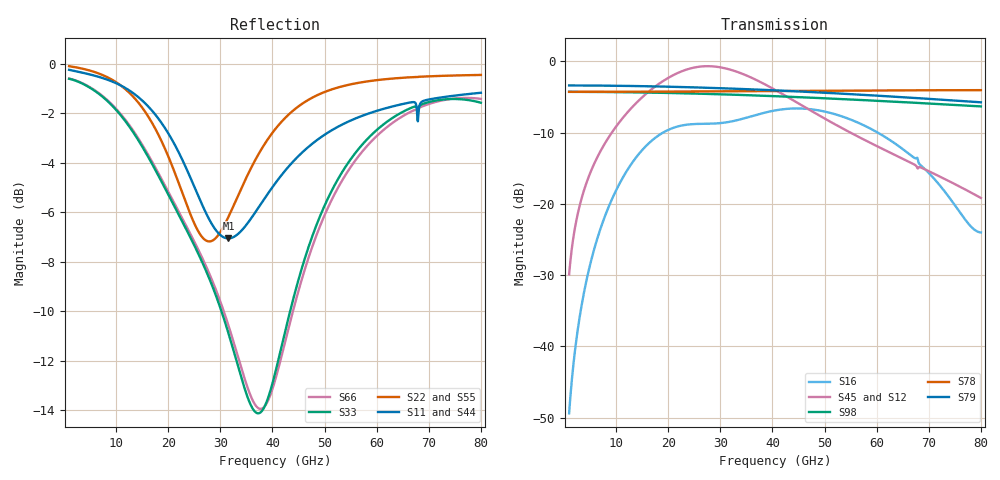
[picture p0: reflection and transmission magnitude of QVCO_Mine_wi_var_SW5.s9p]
! Touchstone Ver. 1.0
! Number of ports is 9
# Hz	S	RI	R	50.000000
! SCATTERING PARAMETERS  :
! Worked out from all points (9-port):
!   1001 points, 1 GHz to 80 GHz, reference 50 ohm
!   strongest paths, dB at 1 GHz, 20.75 GHz, 40.5 GHz, 60.25 GHz, 80 GHz:
!     S79: -3.4, -3.6, -4.1, -4.8, -5.8
!     S78: -4.3, -4.2, -4.2, -4.1, -4.0
!     S98: -4.3, -4.4, -4.9, -5.5, -6.3
!     S45: -29.9, -2.0, -4.0, -12.0, -19.2
!     S12: -29.9, -2.0, -4.0, -12.1, -19.2
!     S16: -49.4, -9.4, -6.9, -10.0, -24.0
!   lowest |S11| = -7.1 dB at 31.57 GHz (marker M1), VSWR 2.60, Z = 80.7 + j54.9 ohm
!   |S11| at or under -10 dB: nowhere
